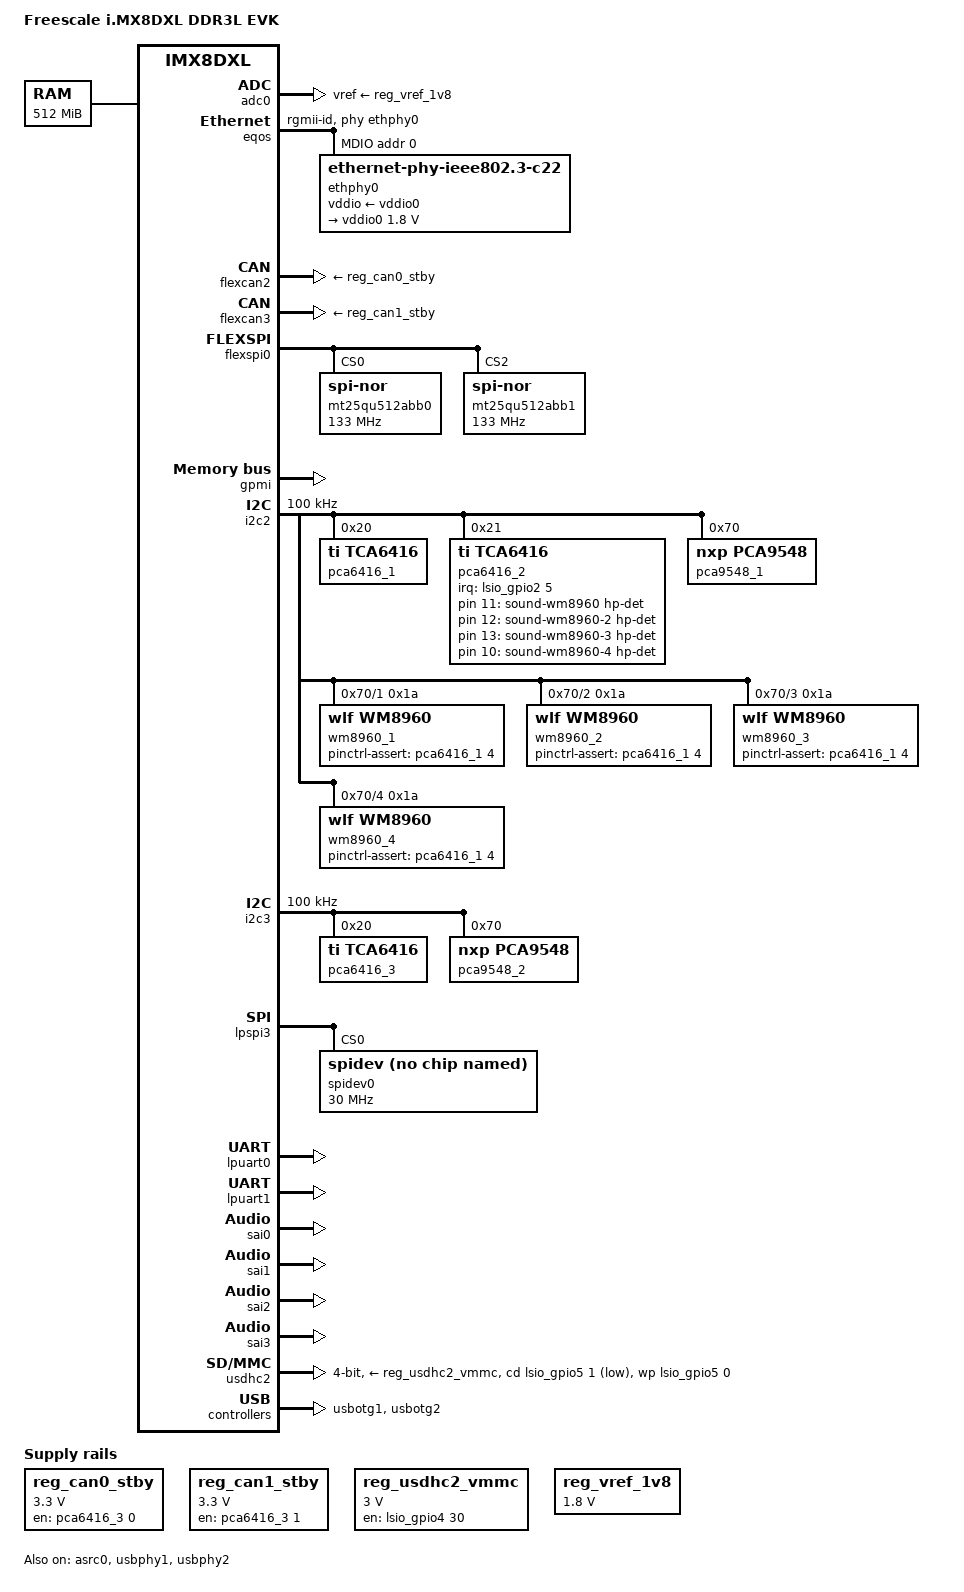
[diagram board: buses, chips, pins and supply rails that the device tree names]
// SPDX-License-Identifier: GPL-2.0+
/*
 * Copyright 2019~2020 NXP
 */

/dts-v1/;

#include "imx8dxl.dtsi"

/ {
	model = "Freescale i.MX8DXL DDR3L EVK";
	compatible = "fsl,imx8dxl-evk", "fsl,imx8dxl";

	chosen {
		stdout-path = &lpuart0;
	};

	memory@80000000 {
		device_type = "memory";
		reg = <0x00000000 0x80000000 0 0x20000000>;
	};

	reserved-memory {
		#address-cells = <2>;
		#size-cells = <2>;
		ranges;

		vdev0vring0: vdev0vring0@90000000 {
			compatible = "shared-dma-pool";
			reg = <0 0x90000000 0 0x8000>;
			no-map;
		};

		vdev0vring1: vdev0vring1@90008000 {
			compatible = "shared-dma-pool";
			reg = <0 0x90008000 0 0x8000>;
			no-map;
		};

		vdev1vring0: vdev1vring0@90010000 {
			compatible = "shared-dma-pool";
			reg = <0 0x90010000 0 0x8000>;
			no-map;
		};
		
		vdev1vring1: vdev1vring1@90018000 {
			compatible = "shared-dma-pool";
			reg = <0 0x90018000 0 0x8000>;
			no-map;
		};

		vdevbuffer: vdevbuffer {
			compatible = "shared-dma-pool";
			reg = <0 0x90400000 0 0x100000>;
			no-map;
		};

/*
 *		Memory reserved for optee usage. Please do not use.
 *		This will be automaticky added to dtb if OP-TEE is installed.
 *		optee@96000000 {
 *   			reg = <0 0x96000000 0 0x2000000>;
 *			no-map;
 *		};
 */
		/* global autoconfigured region for contiguous allocations */
		linux,cma {
			compatible = "shared-dma-pool";
			reusable;
			size = <0 0x8000000>;
			alloc-ranges = <0 0x98000000 0 0x8000000>;
			linux,cma-default;
		};
	};

	reg_can0_stby: regulator-can0-stby {
		compatible = "regulator-fixed";
		regulator-name = "can0-stby";
		regulator-min-microvolt = <3300000>;
		regulator-max-microvolt = <3300000>;
		gpio = <&pca6416_3 0 GPIO_ACTIVE_HIGH>;
		enable-active-high;
	};

	reg_can1_stby: regulator-can1-stby {
		compatible = "regulator-fixed";
		regulator-name = "can1-stby";
		regulator-min-microvolt = <3300000>;
		regulator-max-microvolt = <3300000>;
		gpio = <&pca6416_3 1 GPIO_ACTIVE_HIGH>;
		enable-active-high;
	};

	reg_usdhc2_vmmc: usdhc2-vmmc {
		compatible = "regulator-fixed";
		regulator-name = "SD1_SPWR";
		regulator-min-microvolt = <3000000>;
		regulator-max-microvolt = <3000000>;
		gpio = <&lsio_gpio4 30 GPIO_ACTIVE_HIGH>;
		enable-active-high;
		off-on-delay-us = <3480>;
	};

	reg_vref_1v8: regulator-adc-vref {
		compatible = "regulator-fixed";
		regulator-name = "vref_1v8";
		regulator-min-microvolt = <1800000>;
		regulator-max-microvolt = <1800000>;
	};

	sound-wm8960 {
		compatible = "fsl,imx7d-evk-wm8960",
			   "fsl,imx-audio-wm8960";
		model = "wm8960-audio";
		audio-cpu = <&sai1>;
		audio-codec = <&wm8960_1>;
		audio-asrc = <&asrc0>;
		hp-det-gpio = <&pca6416_2 11 GPIO_ACTIVE_HIGH>;
		audio-routing =
			"Headphone Jack", "HP_L",
			"Headphone Jack", "HP_R",
			"Ext Spk", "SPK_LP",
			"Ext Spk", "SPK_LN",
			"Ext Spk", "SPK_RP",
			"Ext Spk", "SPK_RN",
			"LINPUT1", "Mic Jack",
			"Mic Jack", "MICB";
	};

	sound-wm8960-2 {
		compatible = "fsl,imx7d-evk-wm8960",
			   "fsl,imx-audio-wm8960";
		model = "wm8960-audio-2";
		audio-cpu = <&sai2>;
		audio-codec = <&wm8960_2>;
		capture-only;
		hp-det-gpio = <&pca6416_2 12 GPIO_ACTIVE_HIGH>;
		audio-routing =
			"Headphone Jack", "HP_L",
			"Headphone Jack", "HP_R",
			"Ext Spk", "SPK_LP",
			"Ext Spk", "SPK_LN",
			"Ext Spk", "SPK_RP",
			"Ext Spk", "SPK_RN",
			"LINPUT1", "Mic Jack",
			"Mic Jack", "MICB";
	};

	sound-wm8960-3 {
		compatible = "fsl,imx7d-evk-wm8960",
			   "fsl,imx-audio-wm8960";
		model = "wm8960-audio-3";
		audio-cpu = <&sai3>;
		audio-codec = <&wm8960_3>;
		capture-only;
		hp-det-gpio = <&pca6416_2 13 GPIO_ACTIVE_HIGH>;
		audio-routing =
			"Headphone Jack", "HP_L",
			"Headphone Jack", "HP_R",
			"Ext Spk", "SPK_LP",
			"Ext Spk", "SPK_LN",
			"Ext Spk", "SPK_RP",
			"Ext Spk", "SPK_RN",
			"LINPUT1", "Mic Jack",
			"Mic Jack", "MICB";
	};

	sound-wm8960-4 {
		compatible = "fsl,imx7d-evk-wm8960",
			   "fsl,imx-audio-wm8960";
		model = "wm8960-audio-4";
		audio-cpu = <&sai0>;
		audio-codec = <&wm8960_4>;
		hp-det-gpio = <&pca6416_2 10 GPIO_ACTIVE_HIGH>;
		audio-routing =
			"Headphone Jack", "HP_L",
			"Headphone Jack", "HP_R",
			"Ext Spk", "SPK_LP",
			"Ext Spk", "SPK_LN",
			"Ext Spk", "SPK_RP",
			"Ext Spk", "SPK_RN",
			"LINPUT1", "Mic Jack",
			"Mic Jack", "MICB";
	};
};

&adc0 {
	pinctrl-names = "default";
	pinctrl-0 = <&pinctrl_adc>;
	vref-supply = <&reg_vref_1v8>;
	status = "okay";
};

&edma2 {
	status = "okay";
};

&edma3 {
	status = "okay";
};

&eqos {
	pinctrl-names = "default";
	pinctrl-0 = <&pinctrl_eqos>;
	phy-mode = "rgmii-id";
	phy-handle = <&ethphy0>;
	snps,reset-gpios = <&pca6416_1 2 GPIO_ACTIVE_LOW>;
	snps,reset-delays-us = <10 20 200000>;
	status = "okay";

	mdio {
		compatible = "snps,dwmac-mdio";
		#address-cells = <1>;
		#size-cells = <0>;

		ethphy0: ethernet-phy@0 {
			compatible = "ethernet-phy-ieee802.3-c22";
			reg = <0>;
			eee-broken-1000t;
			qca,disable-smarteee;
			qca,disable-hibernation-mode;
			vddio-supply = <&vddio0>;

			vddio0: vddio-regulator {
				regulator-min-microvolt = <1800000>;
				regulator-max-microvolt = <1800000>;
			};
		};

	};
};

&fec1 {
	pinctrl-names = "default";
	pinctrl-0 = <&pinctrl_fec1>;
	phy-mode = "rgmii-txid";
	phy-handle = <&ethphy1>;
	fsl,magic-packet;
	rx-internal-delay-ps = <2000>;
	phy-reset-gpios = <&pca6416_1 0 GPIO_ACTIVE_LOW>;
	phy-reset-duration = <10>;
	phy-reset-post-delay = <150>;
	status = "disabled";

	mdio {
		#address-cells = <1>;
		#size-cells = <0>;

		ethphy1: ethernet-phy@1 {
			compatible = "ethernet-phy-ieee802.3-c22";
			reg = <1>;
			qca,disable-smarteee;
			vddio-supply = <&vddio1>;

			vddio1: vddio-regulator {
				regulator-min-microvolt = <1800000>;
				regulator-max-microvolt = <1800000>;
			};
		};
	};
};

&flexcan2 {
	pinctrl-names = "default";
	pinctrl-0 = <&pinctrl_flexcan2>;
	xceiver-supply = <&reg_can0_stby>;
	status = "okay";
};

&flexcan3 {
	pinctrl-names = "default";
	pinctrl-0 = <&pinctrl_flexcan3>;
	xceiver-supply = <&reg_can1_stby>;
	status = "okay";
};

&flexspi0 {
	pinctrl-names = "default";
	pinctrl-0 = <&pinctrl_flexspi0>;
	status = "okay";
	nxp,fspi-individual-mode;

	mt25qu512abb0: flash@0 {
		reg = <0>;
		#address-cells = <1>;
		#size-cells = <1>;
		compatible = "jedec,spi-nor";
		spi-max-frequency = <133000000>;
		spi-tx-bus-width = <1>;
		spi-rx-bus-width = <4>;
	};

	mt25qu512abb1: flash@2 {
		reg = <2>;
		#address-cells = <1>;
		#size-cells = <1>;
		compatible = "jedec,spi-nor";
		spi-max-frequency = <133000000>;
		spi-tx-bus-width = <1>;
		spi-rx-bus-width = <4>;
	};
};

&gpmi {
	pinctrl-names = "default";
	pinctrl-0 = <&pinctrl_gpmi_nand_1>;
	status = "okay";
	nand-on-flash-bbt;
	fsl,max-nand-cs = <1>;
	fsl,use-minimum-ecc;
};

&i2c2 {
	#address-cells = <1>;
	#size-cells = <0>;
	clock-frequency = <100000>;
	pinctrl-names = "default";
	pinctrl-0 = <&pinctrl_i2c2>;
	status = "okay";

	pca6416_1: gpio@20 {
		compatible = "ti,tca6416";
		reg = <0x20>;
		gpio-controller;
		#gpio-cells = <2>;
	};

	pca6416_2: gpio@21 {
		compatible = "ti,tca6416";
		reg = <0x21>;
		gpio-controller;
		#gpio-cells = <2>;
		interrupt-parent = <&lsio_gpio2>;
		interrupts = <5 IRQ_TYPE_EDGE_BOTH>;
	};

	pca9548_1: pca9548@70 {
		compatible = "nxp,pca9548";
		#address-cells = <1>;
		#size-cells = <0>;
		reg = <0x70>;

		i2c@0 {
			#address-cells = <1>;
			#size-cells = <0>;
			reg = <0x0>;

			max7322: gpio@68 {
				compatible = "maxim,max7322";
				reg = <0x68>;
				gpio-controller;
				#gpio-cells = <2>;
				status = "disabled";
			};
		};

		i2c@1 {
			#address-cells = <1>;
			#size-cells = <0>;
			reg = <0x1>;

			wm8960_1: wm8960@1a {
				compatible = "wlf,wm8960";
				reg = <0x1a>;
				pinctrl-assert-gpios = <&pca6416_1 4 GPIO_ACTIVE_HIGH>;
				clocks = <&mclkout0_lpcg 0>;
				clock-names = "mclk";
				wlf,shared-lrclk;
				wlf,hp-cfg = <2 2 3>;
				wlf,gpio-cfg = <1 3>;
				assigned-clocks = <&clk IMX_SC_R_AUDIO_PLL_0 IMX_SC_PM_CLK_PLL>,
						  <&clk IMX_SC_R_AUDIO_PLL_0 IMX_SC_PM_CLK_SLV_BUS>,
						  <&clk IMX_SC_R_AUDIO_PLL_0 IMX_SC_PM_CLK_MST_BUS>,
						  <&mclkout0_lpcg 0>;
				assigned-clock-rates = <786432000>, <49152000>, <12288000>, <12288000>;
			};
		};

		i2c@2 {
			#address-cells = <1>;
			#size-cells = <0>;
			reg = <0x2>;

			wm8960_2: wm8960@1a {
				compatible = "wlf,wm8960";
				reg = <0x1a>;
				pinctrl-assert-gpios = <&pca6416_1 4 GPIO_ACTIVE_HIGH>;
				clocks = <&mclkout0_lpcg 0>;
				clock-names = "mclk";
				wlf,shared-lrclk;
				wlf,hp-cfg = <2 2 3>;
				wlf,gpio-cfg = <1 3>;
				assigned-clocks = <&clk IMX_SC_R_AUDIO_PLL_0 IMX_SC_PM_CLK_PLL>,
						  <&clk IMX_SC_R_AUDIO_PLL_0 IMX_SC_PM_CLK_SLV_BUS>,
						  <&clk IMX_SC_R_AUDIO_PLL_0 IMX_SC_PM_CLK_MST_BUS>,
						  <&mclkout0_lpcg 0>;
				assigned-clock-rates = <786432000>, <49152000>, <12288000>, <12288000>;
			};
		};

		i2c@3 {
			#address-cells = <1>;
			#size-cells = <0>;
			reg = <0x3>;

			wm8960_3: wm8960@1a {
				compatible = "wlf,wm8960";
				reg = <0x1a>;
				pinctrl-assert-gpios = <&pca6416_1 4 GPIO_ACTIVE_HIGH>;
				clocks = <&mclkout0_lpcg 0>;
				clock-names = "mclk";
				wlf,shared-lrclk;
				wlf,hp-cfg = <2 2 3>;
				wlf,gpio-cfg = <1 3>;
				assigned-clocks = <&clk IMX_SC_R_AUDIO_PLL_0 IMX_SC_PM_CLK_PLL>,
						  <&clk IMX_SC_R_AUDIO_PLL_0 IMX_SC_PM_CLK_SLV_BUS>,
						  <&clk IMX_SC_R_AUDIO_PLL_0 IMX_SC_PM_CLK_MST_BUS>,
						  <&mclkout0_lpcg 0>;
				assigned-clock-rates = <786432000>, <49152000>, <12288000>, <12288000>;
			};
		};

		i2c@4 {
			#address-cells = <1>;
			#size-cells = <0>;
			reg = <0x4>;

			wm8960_4: wm8960@1a {
				compatible = "wlf,wm8960";
				reg = <0x1a>;
				pinctrl-assert-gpios = <&pca6416_1 4 GPIO_ACTIVE_HIGH>;
				clocks = <&mclkout0_lpcg 0>;
				clock-names = "mclk";
				wlf,shared-lrclk;
				wlf,hp-cfg = <2 2 3>;
				wlf,gpio-cfg = <1 3>;
				assigned-clocks = <&clk IMX_SC_R_AUDIO_PLL_0 IMX_SC_PM_CLK_PLL>,
						  <&clk IMX_SC_R_AUDIO_PLL_0 IMX_SC_PM_CLK_SLV_BUS>,
						  <&clk IMX_SC_R_AUDIO_PLL_0 IMX_SC_PM_CLK_MST_BUS>,
						  <&mclkout0_lpcg 0>;
				assigned-clock-rates = <786432000>, <49152000>, <12288000>, <12288000>;
			};
		};

		i2c@5 {
			#address-cells = <1>;
			#size-cells = <0>;
			reg = <0x5>;
		};

		i2c@6 {
			#address-cells = <1>;
			#size-cells = <0>;
			reg = <0x6>;
		};
	};
};

&i2c3 {
	#address-cells = <1>;
	#size-cells = <0>;
	clock-frequency = <100000>;
	pinctrl-names = "default";
	pinctrl-0 = <&pinctrl_i2c3>;
	status = "okay";

	pca6416_3: gpio@20 {
		compatible = "ti,tca6416";
		reg = <0x20>;
		gpio-controller;
		#gpio-cells = <2>;
	};

	pca9548_2: pca9548@70 {
		compatible = "nxp,pca9548";
		#address-cells = <1>;
		#size-cells = <0>;
		reg = <0x70>;

		i2c@0 {
			#address-cells = <1>;
			#size-cells = <0>;
			reg = <0x0>;
		};

		i2c@1 {
			#address-cells = <1>;
			#size-cells = <0>;
			reg = <0x1>;
		};

		i2c@2 {
			#address-cells = <1>;
			#size-cells = <0>;
			reg = <0x2>;
		};

		i2c@3 {
			#address-cells = <1>;
			#size-cells = <0>;
			reg = <0x3>;
		};

		i2c@4 {
			#address-cells = <1>;
			#size-cells = <0>;
			reg = <0x4>;
		};
	};
};

&lpspi3 {
	fsl,spi-num-chipselects = <1>;
	fsl,spi-only-use-cs1-sel;
	pinctrl-names = "default";
	pinctrl-0 = <&pinctrl_lpspi3>;
	pinctrl-assert-gpios = <&pca6416_1 7 GPIO_ACTIVE_HIGH>;
	status = "okay";

	spidev0: spi@0 {
		reg = <0>;
		compatible = "rohm,dh2228fv";
		spi-max-frequency = <30000000>;
	};
};

&lpuart0 {
	pinctrl-names = "default";
	pinctrl-0 = <&pinctrl_lpuart0>;
	status = "okay";
};

&lpuart1 {
       pinctrl-names = "default";
       pinctrl-1 = <&pinctrl_lpuart1>;
       status = "okay";
};

&lsio_gpio4 {
	status = "okay";
};

&lsio_gpio5 {
	status = "okay";
};

&pcieb{
	compatible = "fsl,imx8qxp-pcie","snps,dw-pcie";
	pinctrl-names = "default";
	pinctrl-0 = <&pinctrl_pcieb>;
	clkreq-gpio = <&lsio_gpio4 1 GPIO_ACTIVE_LOW>;
	reset-gpio = <&lsio_gpio4 0 GPIO_ACTIVE_LOW>;
	ext_osc = <1>;
	status = "disabled";
};

&asrc0 {
	fsl,asrc-rate  = <48000>;
	status = "okay";
};

&sai0 {
	assigned-clocks = <&clk IMX_SC_R_AUDIO_PLL_0 IMX_SC_PM_CLK_PLL>,
			<&clk IMX_SC_R_AUDIO_PLL_0 IMX_SC_PM_CLK_SLV_BUS>,
			<&clk IMX_SC_R_AUDIO_PLL_0 IMX_SC_PM_CLK_MST_BUS>,
			<&sai0_lpcg 0>;
	assigned-clock-rates = <786432000>, <49152000>, <12288000>, <49152000>;
	pinctrl-names = "default";
	pinctrl-0 = <&pinctrl_sai0>;
	status = "okay";
};

&sai1 {
	assigned-clocks = <&clk IMX_SC_R_AUDIO_PLL_0 IMX_SC_PM_CLK_PLL>,
			<&clk IMX_SC_R_AUDIO_PLL_0 IMX_SC_PM_CLK_SLV_BUS>,
			<&clk IMX_SC_R_AUDIO_PLL_0 IMX_SC_PM_CLK_MST_BUS>,
			<&sai1_lpcg 0>;
	assigned-clock-rates = <786432000>, <49152000>, <12288000>, <49152000>;
	pinctrl-names = "default";
	pinctrl-0 = <&pinctrl_sai1>;
	status = "okay";
};

&sai2 {
	assigned-clocks = <&clk IMX_SC_R_AUDIO_PLL_0 IMX_SC_PM_CLK_PLL>,
			<&clk IMX_SC_R_AUDIO_PLL_0 IMX_SC_PM_CLK_SLV_BUS>,
			<&clk IMX_SC_R_AUDIO_PLL_0 IMX_SC_PM_CLK_MST_BUS>,
			<&sai2_lpcg 0>;
	assigned-clock-rates = <786432000>, <49152000>, <12288000>, <49152000>;
	pinctrl-names = "default";
	pinctrl-0 = <&pinctrl_sai2>;
	fsl,sai-asynchronous;
	status = "okay";
};

&sai3 {
	assigned-clocks = <&clk IMX_SC_R_AUDIO_PLL_0 IMX_SC_PM_CLK_PLL>,
			<&clk IMX_SC_R_AUDIO_PLL_0 IMX_SC_PM_CLK_SLV_BUS>,
			<&clk IMX_SC_R_AUDIO_PLL_0 IMX_SC_PM_CLK_MST_BUS>,
			<&sai3_lpcg 0>;
	assigned-clock-rates = <786432000>, <49152000>, <12288000>, <49152000>;
	pinctrl-names = "default";
	pinctrl-0 = <&pinctrl_sai3>;
	fsl,sai-asynchronous;
	status = "okay";
};

&thermal_zones {
	pmic-thermal0 {
		polling-delay-passive = <250>;
		polling-delay = <2000>;
		thermal-sensors = <&tsens IMX_SC_R_PMIC_0>;
		trips {
			pmic_alert0: trip0 {
				temperature = <110000>;
				hysteresis = <2000>;
				type = "passive";
			};
			pmic_crit0: trip1 {
				temperature = <125000>;
				hysteresis = <2000>;
				type = "critical";
			};
		};
		cooling-maps {
			map0 {
				trip = <&pmic_alert0>;
				cooling-device =
					<&A35_0 THERMAL_NO_LIMIT THERMAL_NO_LIMIT>,
					<&A35_1 THERMAL_NO_LIMIT THERMAL_NO_LIMIT>;
			};
		};
	};
};

&usdhc2 {
	pinctrl-names = "default", "state_100mhz", "state_200mhz";
	pinctrl-0 = <&pinctrl_usdhc2>, <&pinctrl_usdhc2_gpio>;
	pinctrl-1 = <&pinctrl_usdhc2_100mhz>, <&pinctrl_usdhc2_gpio>;
	pinctrl-2 = <&pinctrl_usdhc2_200mhz>, <&pinctrl_usdhc2_gpio>;
	bus-width = <4>;
	vmmc-supply = <&reg_usdhc2_vmmc>;
	cd-gpios = <&lsio_gpio5 1 GPIO_ACTIVE_LOW>;
	wp-gpios = <&lsio_gpio5 0 GPIO_ACTIVE_HIGH>;
	max-frequency = <100000000>;
	status = "okay";
};

&usbphy1 {
        status = "okay";
};

&usbotg1 {
	pinctrl-names = "default";
	pinctrl-0 = <&pinctrl_usbotg1>;
	srp-disable;
	hnp-disable;
	adp-disable;
	power-active-high;
	disable-over-current;
	status = "okay";
};

&usbphy2 {
	status = "okay";
};

&usbotg2 {
	pinctrl-names = "default";
	pinctrl-0 = <&pinctrl_usbotg2>;
	srp-disable;
	hnp-disable;
	adp-disable;
	power-active-high;
	disable-over-current;
	status = "okay";
};

&iomuxc {
	pinctrl-names = "default";
	pinctrl-0 = <&pinctrl_hog>;

		pinctrl_hog: hoggrp {
			fsl,pins = <
				IMX8DXL_COMP_CTL_GPIO_1V8_3V3_GPIORHB_PAD	0x000514a0
				IMX8DXL_MCLK_OUT0_ADMA_ACM_MCLK_OUT0		0x0600004c
				IMX8DXL_SNVS_TAMPER_OUT1_LSIO_GPIO2_IO05_IN	0x0600004c
			>;
		};

		pinctrl_adc: adcgrp{
			fsl,pins = <
				IMX8DXL_ADC_IN0_ADMA_ADC_IN0	0x06000021
				IMX8DXL_ADC_IN1_ADMA_ADC_IN1	0x06000021
				IMX8DXL_ADC_IN4_ADMA_ADC_IN4	0x06000021
				IMX8DXL_ADC_IN5_ADMA_ADC_IN5	0x06000021
			>;
		};

		pinctrl_eqos: eqosgrp {
			fsl,pins = <
				IMX8DXL_ENET0_MDC_CONN_EQOS_MDC				0x06000020
				IMX8DXL_ENET0_MDIO_CONN_EQOS_MDIO			0x06000020
				IMX8DXL_ENET1_RGMII_TX_CTL_CONN_EQOS_RGMII_TX_CTL	0x06000020
				IMX8DXL_ENET1_RGMII_TXC_CONN_EQOS_RGMII_TXC		0x06000020
				IMX8DXL_ENET1_RGMII_TXD0_CONN_EQOS_RGMII_TXD0		0x06000020
				IMX8DXL_ENET1_RGMII_TXD1_CONN_EQOS_RGMII_TXD1		0x06000020
				IMX8DXL_ENET1_RGMII_TXD2_CONN_EQOS_RGMII_TXD2		0x06000020
				IMX8DXL_ENET1_RGMII_TXD3_CONN_EQOS_RGMII_TXD3		0x06000020
				IMX8DXL_ENET1_RGMII_RXC_CONN_EQOS_RGMII_RXC		0x06000020
				IMX8DXL_ENET1_RGMII_RX_CTL_CONN_EQOS_RGMII_RX_CTL	0x06000020
				IMX8DXL_ENET1_RGMII_RXD0_CONN_EQOS_RGMII_RXD0		0x06000020
				IMX8DXL_ENET1_RGMII_RXD1_CONN_EQOS_RGMII_RXD1		0x06000020
				IMX8DXL_ENET1_RGMII_RXD2_CONN_EQOS_RGMII_RXD2		0x06000020
				IMX8DXL_ENET1_RGMII_RXD3_CONN_EQOS_RGMII_RXD3		0x06000020
			>;
		};

		pinctrl_flexcan2: flexcan2grp {
			fsl,pins = <
				IMX8DXL_UART2_TX_ADMA_FLEXCAN1_TX	0x00000021
				IMX8DXL_UART2_RX_ADMA_FLEXCAN1_RX	0x00000021
			>;
		};

		pinctrl_flexcan3: flexcan3grp {
			fsl,pins = <
				IMX8DXL_FLEXCAN2_TX_ADMA_FLEXCAN2_TX	0x00000021
				IMX8DXL_FLEXCAN2_RX_ADMA_FLEXCAN2_RX	0x00000021
			>;
		};

		pinctrl_fec1: fec1grp {
			fsl,pins = <
				IMX8DXL_COMP_CTL_GPIO_1V8_3V3_ENET_ENETB0_PAD	0x000014a0
				IMX8DXL_COMP_CTL_GPIO_1V8_3V3_ENET_ENETB1_PAD	0x000014a0
				IMX8DXL_ENET0_MDC_CONN_ENET0_MDC			0x06000020
				IMX8DXL_ENET0_MDIO_CONN_ENET0_MDIO			0x06000020
				IMX8DXL_ENET0_RGMII_TX_CTL_CONN_ENET0_RGMII_TX_CTL	0x00000060
				IMX8DXL_ENET0_RGMII_TXC_CONN_ENET0_RGMII_TXC	0x00000060
				IMX8DXL_ENET0_RGMII_TXD0_CONN_ENET0_RGMII_TXD0	0x00000060
				IMX8DXL_ENET0_RGMII_TXD1_CONN_ENET0_RGMII_TXD1	0x00000060
				IMX8DXL_ENET0_RGMII_TXD2_CONN_ENET0_RGMII_TXD2	0x00000060
				IMX8DXL_ENET0_RGMII_TXD3_CONN_ENET0_RGMII_TXD3	0x00000060
				IMX8DXL_ENET0_RGMII_RXC_CONN_ENET0_RGMII_RXC	0x00000060
				IMX8DXL_ENET0_RGMII_RX_CTL_CONN_ENET0_RGMII_RX_CTL	0x00000060
				IMX8DXL_ENET0_RGMII_RXD0_CONN_ENET0_RGMII_RXD0	0x00000060
				IMX8DXL_ENET0_RGMII_RXD1_CONN_ENET0_RGMII_RXD1	0x00000060
				IMX8DXL_ENET0_RGMII_RXD2_CONN_ENET0_RGMII_RXD2	0x00000060
				IMX8DXL_ENET0_RGMII_RXD3_CONN_ENET0_RGMII_RXD3	0x00000060
			>;
		};

		pinctrl_flexspi0: flexspi0grp {
			fsl,pins = <
				IMX8DXL_QSPI0A_DATA0_LSIO_QSPI0A_DATA0     0x06000021
				IMX8DXL_QSPI0A_DATA1_LSIO_QSPI0A_DATA1     0x06000021
				IMX8DXL_QSPI0A_DATA2_LSIO_QSPI0A_DATA2     0x06000021
				IMX8DXL_QSPI0A_DATA3_LSIO_QSPI0A_DATA3     0x06000021
				IMX8DXL_QSPI0A_DQS_LSIO_QSPI0A_DQS         0x06000021
				IMX8DXL_QSPI0A_SS0_B_LSIO_QSPI0A_SS0_B     0x06000021
				IMX8DXL_QSPI0A_SCLK_LSIO_QSPI0A_SCLK       0x06000021
				IMX8DXL_QSPI0B_SCLK_LSIO_QSPI0B_SCLK       0x06000021
				IMX8DXL_QSPI0B_DATA0_LSIO_QSPI0B_DATA0     0x06000021
				IMX8DXL_QSPI0B_DATA1_LSIO_QSPI0B_DATA1     0x06000021
				IMX8DXL_QSPI0B_DATA2_LSIO_QSPI0B_DATA2     0x06000021
				IMX8DXL_QSPI0B_DATA3_LSIO_QSPI0B_DATA3     0x06000021
				IMX8DXL_QSPI0B_DQS_LSIO_QSPI0B_DQS         0x06000021
				IMX8DXL_QSPI0B_SS0_B_LSIO_QSPI0B_SS0_B     0x06000021
			>;
		};

		pinctrl_gpmi_nand_1: gpmi-nand-1 {
			fsl,pins = <
				IMX8DXL_EMMC0_DATA0_CONN_NAND_DATA00	0x0e00004c
				IMX8DXL_EMMC0_DATA1_CONN_NAND_DATA01	0x0e00004c
				IMX8DXL_EMMC0_DATA2_CONN_NAND_DATA02	0x0e00004c
				IMX8DXL_EMMC0_DATA3_CONN_NAND_DATA03	0x0e00004c
				IMX8DXL_EMMC0_DATA4_CONN_NAND_DATA04	0x0e00004c
				IMX8DXL_EMMC0_DATA5_CONN_NAND_DATA05	0x0e00004c
				IMX8DXL_EMMC0_DATA6_CONN_NAND_DATA06	0x0e00004c
				IMX8DXL_EMMC0_DATA7_CONN_NAND_DATA07	0x0e00004c
				IMX8DXL_EMMC0_CLK_CONN_NAND_READY_B	0x0e00004c
				IMX8DXL_EMMC0_STROBE_CONN_NAND_CLE		0x0e00004c
				IMX8DXL_EMMC0_RESET_B_CONN_NAND_WP_B	0x0e00004c
				IMX8DXL_USDHC1_CD_B_CONN_NAND_DQS	0x0e00004c

				IMX8DXL_USDHC1_RESET_B_CONN_NAND_WE_B	0x0e00004c
				IMX8DXL_USDHC1_WP_CONN_NAND_ALE		0x0e00004c
				IMX8DXL_USDHC1_VSELECT_CONN_NAND_RE_B  	0x0e00004c
			>;
		};

		pinctrl_lpspi3: lpspi3grp {
			fsl,pins = <
				IMX8DXL_SPI3_SCK_ADMA_SPI3_SCK		0x6000040
				IMX8DXL_SPI3_SDO_ADMA_SPI3_SDO		0x6000040
				IMX8DXL_SPI3_SDI_ADMA_SPI3_SDI		0x6000040
				IMX8DXL_SPI3_CS1_ADMA_SPI3_CS1		0x6000040
			>;
		};

		pinctrl_i2c2: i2c2grp {
			fsl,pins = <
				IMX8DXL_SPI1_SCK_ADMA_I2C2_SDA		0x06000021
				IMX8DXL_SPI1_SDO_ADMA_I2C2_SCL		0x06000021
			>;
		};

		pinctrl_i2c3: i2c3grp {
			fsl,pins = <
				IMX8DXL_SPI1_CS0_ADMA_I2C3_SDA		0x06000021
				IMX8DXL_SPI1_SDI_ADMA_I2C3_SCL		0x06000021
			>;
		};

		pinctrl_lpuart0: lpuart0grp {
			fsl,pins = <
				IMX8DXL_UART0_RX_ADMA_UART0_RX		0x0600004c
				IMX8DXL_UART0_TX_ADMA_UART0_TX		0x0600004c
			>;
		};

               pinctrl_lpuart1: lpuart1grp {
                       fsl,pins = <
                               IMX8DXL_UART1_TX_ADMA_UART1_TX          0x0600004c
                               IMX8DXL_UART1_RX_ADMA_UART1_RX          0x0600004c
                               IMX8DXL_UART1_RTS_B_ADMA_UART1_RTS_B    0x0600004c
                               IMX8DXL_UART1_CTS_B_ADMA_UART1_CTS_B    0x0600004c
                       >;
               };


		pinctrl_pcieb: pcieagrp{
			fsl,pins = <
				IMX8DXL_PCIE_CTRL0_PERST_B_LSIO_GPIO4_IO00	0x06000021
				IMX8DXL_PCIE_CTRL0_CLKREQ_B_LSIO_GPIO4_IO01	0x06000021
				IMX8DXL_PCIE_CTRL0_WAKE_B_LSIO_GPIO4_IO02	0x04000021
			>;
		};
		pinctrl_sai0: sai0grp {
			fsl,pins = <
				IMX8DXL_SPI0_SCK_ADMA_SAI0_TXC     0x06000040
				IMX8DXL_SPI0_SDO_ADMA_SAI0_TXFS    0x06000040
				IMX8DXL_SPI0_SDI_ADMA_SAI0_TXD     0x06000060
				IMX8DXL_SPI0_CS0_ADMA_SAI0_RXD     0x06000060
			>;
		};

		pinctrl_sai1: sai1grp {
			fsl,pins = <
				IMX8DXL_FLEXCAN0_RX_ADMA_SAI1_TXC     0x06000040
				IMX8DXL_FLEXCAN0_TX_ADMA_SAI1_TXFS    0x06000040
				IMX8DXL_FLEXCAN1_RX_ADMA_SAI1_TXD     0x06000060
				IMX8DXL_FLEXCAN1_TX_ADMA_SAI1_RXD     0x06000060
			>;
		};

		pinctrl_sai2: sai2grp {
			fsl,pins = <
				IMX8DXL_SNVS_TAMPER_OUT3_ADMA_SAI2_RXC   0x06000040
				IMX8DXL_SNVS_TAMPER_IN0_ADMA_SAI2_RXFS   0x06000040
				IMX8DXL_SNVS_TAMPER_OUT4_ADMA_SAI2_RXD   0x06000060
			>;
		};

		pinctrl_sai3: sai3grp {
			fsl,pins = <
				IMX8DXL_SNVS_TAMPER_IN1_ADMA_SAI3_RXC    0x06000040
				IMX8DXL_SNVS_TAMPER_IN3_ADMA_SAI3_RXFS   0x06000040
				IMX8DXL_SNVS_TAMPER_IN2_ADMA_SAI3_RXD    0x06000060
			>;
		};

		pinctrl_usdhc2_gpio: usdhc2gpiogrp {
			fsl,pins = <
				IMX8DXL_ENET0_RGMII_TX_CTL_LSIO_GPIO4_IO30	0x00000040 /* RESET_B */
				IMX8DXL_ENET0_RGMII_TXD1_LSIO_GPIO5_IO00	0x00000021 /* WP */
				IMX8DXL_ENET0_RGMII_TXD2_LSIO_GPIO5_IO01	0x00000021 /* CD */
			>;
		};

		pinctrl_usdhc2: usdhc2grp {
			fsl,pins = <
				IMX8DXL_ENET0_RGMII_RXC_CONN_USDHC1_CLK		0x06000041
				IMX8DXL_ENET0_RGMII_RX_CTL_CONN_USDHC1_CMD	0x00000021
				IMX8DXL_ENET0_RGMII_RXD0_CONN_USDHC1_DATA0	0x00000021
				IMX8DXL_ENET0_RGMII_RXD1_CONN_USDHC1_DATA1	0x00000021
				IMX8DXL_ENET0_RGMII_RXD2_CONN_USDHC1_DATA2	0x00000021
				IMX8DXL_ENET0_RGMII_RXD3_CONN_USDHC1_DATA3	0x00000021
				IMX8DXL_ENET0_RGMII_TXD0_CONN_USDHC1_VSELECT	0x00000021
			>;
		};

		pinctrl_usdhc2_100mhz: usdhc2grp100mhz {
			fsl,pins = <
				IMX8DXL_ENET0_RGMII_RXC_CONN_USDHC1_CLK		0x06000041
				IMX8DXL_ENET0_RGMII_RX_CTL_CONN_USDHC1_CMD	0x00000021
				IMX8DXL_ENET0_RGMII_RXD0_CONN_USDHC1_DATA0	0x00000021
				IMX8DXL_ENET0_RGMII_RXD1_CONN_USDHC1_DATA1	0x00000021
				IMX8DXL_ENET0_RGMII_RXD2_CONN_USDHC1_DATA2	0x00000021
				IMX8DXL_ENET0_RGMII_RXD3_CONN_USDHC1_DATA3	0x00000021
				IMX8DXL_ENET0_RGMII_TXD0_CONN_USDHC1_VSELECT	0x00000021
			>;
		};

		pinctrl_usdhc2_200mhz: usdhc2grp200mhz {
			fsl,pins = <
				IMX8DXL_ENET0_RGMII_RXC_CONN_USDHC1_CLK		0x06000041
				IMX8DXL_ENET0_RGMII_RX_CTL_CONN_USDHC1_CMD	0x00000021
				IMX8DXL_ENET0_RGMII_RXD0_CONN_USDHC1_DATA0	0x00000021
				IMX8DXL_ENET0_RGMII_RXD1_CONN_USDHC1_DATA1	0x00000021
				IMX8DXL_ENET0_RGMII_RXD2_CONN_USDHC1_DATA2	0x00000021
				IMX8DXL_ENET0_RGMII_RXD3_CONN_USDHC1_DATA3	0x00000021
				IMX8DXL_ENET0_RGMII_TXD0_CONN_USDHC1_VSELECT	0x00000021
			>;
		};

		pinctrl_usbotg1: otg1 {
			fsl,pins = <
				IMX8DXL_USB_SS3_TC0_CONN_USB_OTG1_PWR		0x00000021
			>;
		};

		pinctrl_usbotg2: otg2 {
			fsl,pins = <
				IMX8DXL_USB_SS3_TC1_CONN_USB_OTG2_PWR		0x00000021
			>;
		};
};

&imx8dxl_cm4 {
	memory-region = <&vdev0vring0>, <&vdev0vring1>, <&vdevbuffer>,
			<&vdev1vring0>, <&vdev1vring1>;
	status = "disabled";
};
